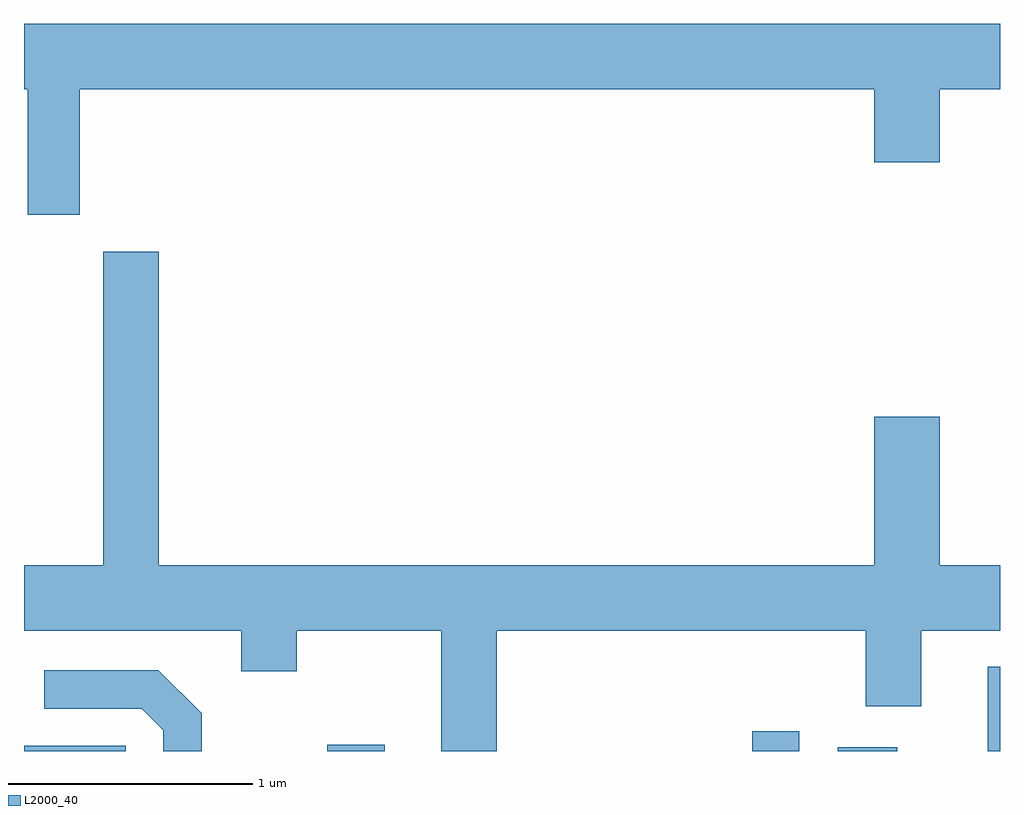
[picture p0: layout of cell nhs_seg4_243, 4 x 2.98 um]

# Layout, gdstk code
import gdstk
lib = gdstk.Library(unit=1e-6, precision=1e-09)
def R(c, l, rs):  # rectangles x0, y0, x1, y1
    for r in rs: c.add(gdstk.rectangle(r[:2], r[2:], *l))
def P(c, l, *ps):  # polygons
    for p in ps: c.add(gdstk.Polygon(p, *l))
L2000_40 = (2000, 40)

nhs_seg4_243 = lib.new_cell('nhs_seg4_243')
R(nhs_seg4_243, L2000_40, [(191.611,1331.982,192.029,1332.004), (192.853,1331.982,193.089,1332.009), (194.596,1331.982,194.789,1332.064), (194.946,1331.982,195.189,1331.999), (195.561,1331.982,195.611,1332.328)])
P(nhs_seg4_243, L2000_40, [(191.839,1334.696),(195.096,1334.696),(195.096,1334.396),(195.364,1334.396),(195.364,1334.696),(195.611,1334.696),(195.611,1334.964),(191.611,1334.964),(191.611,1334.696),(191.626,1334.696),(191.626,1334.181),(191.839,1334.181)],
  [(193.549,1332.476),(195.061,1332.476),(195.061,1332.166),(195.289,1332.166),(195.289,1332.476),(195.611,1332.476),(195.611,1332.744),(195.364,1332.744),(195.364,1333.354),(195.096,1333.354),(195.096,1332.744),(192.164,1332.744),(192.164,1334.029),(191.936,1334.029),(191.936,1332.744),(191.611,1332.744),(191.611,1332.476),(192.501,1332.476),(192.501,1332.311),(192.729,1332.311),(192.729,1332.476),(193.321,1332.476),(193.321,1331.982),(193.549,1331.982)],
  [(192.339,1332.137),(192.162,1332.314),(191.693,1332.314),(191.693,1332.156),(192.094,1332.156),(192.181,1332.069),(192.181,1331.982),(192.339,1331.982)])

lib.write_gds('nhs_seg4_243.gds')
